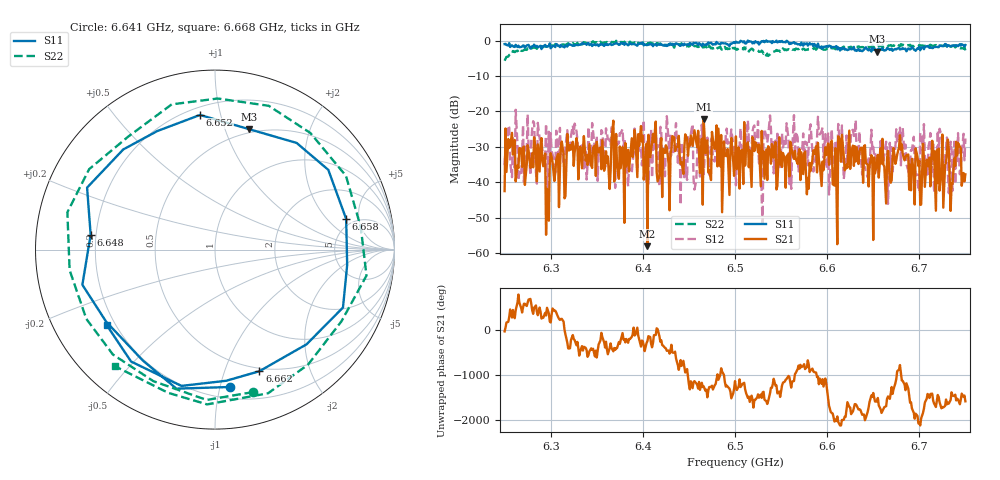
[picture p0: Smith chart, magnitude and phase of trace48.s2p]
# Hz S RI R 50
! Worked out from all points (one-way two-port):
!   401 points, 6.25 GHz to 6.75 GHz, reference 50 ohm
!   highest |S21| = -22.20 dB at 6.466 GHz (marker M1); lowest = -58.0 dB at 6.405 GHz (marker M2)
!   lowest |S11| = -3.1 dB at 6.654 GHz (marker M3), VSWR 5.61, Z = 23.2 + j60.7 ohm
!   |S11| at or under -10 dB: nowhere
!   |S22| runs from -5.7 to -0.1 dB; largest |S21 - S12| = 0.12
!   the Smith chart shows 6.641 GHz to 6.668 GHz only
!   S11 on the Smith chart (normalised r, x): 6.641 GHz: 0.29, -1.08; 6.648 GHz: 0.18, +0.06; 6.652 GHz: 0.25, +0.86; 6.658 GHz: 4.30, +3.36; 6.662 GHz: 0.47, -1.32; 6.668 GHz: 0.17, -0.31
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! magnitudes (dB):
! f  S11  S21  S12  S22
! 6.25 GHz  -1.0  -42.5  -35.2  -5.7
! 6.289 GHz  -1.5  -29.4  -28.2  -1.8
! 6.298 GHz  -1.6  -50.8  -25.7  -1.5
! 6.334 GHz  -0.8  -36.0  -29.6  -1.1
! 6.398 GHz  -0.8  -24.1  -30.1  -0.7
! 6.405 GHz  -1.3  -58.0  -28.4  -1.0
! 6.418 GHz  -1.1  -38.3  -41.2  -1.2
! 6.466 GHz  -1.1  -22.2  -37.8  -1.9
! 6.5 GHz  -0.7  -34.1  -33.0  -2.0
! 6.584 GHz  -1.0  -33.7  -31.3  -2.6
! 6.602 GHz  -1.5  -35.0  -43.4  -2.4
! 6.609 GHz  -1.7  -30.4  -28.2  -2.5
! 6.615 GHz  -2.2  -34.2  -31.0  -2.3
! 6.629 GHz  -1.9  -35.4  -26.9  -1.8
! 6.641 GHz  -2.3  -29.5  -35.7  -1.7
! 6.648 GHz  -3.1  -32.3  -25.2  -1.7
! 6.652 GHz  -2.4  -37.5  -31.8  -1.5
! 6.654 GHz  -3.1  -34.7  -34.4  -1.5
! 6.658 GHz  -2.5  -30.4  -28.3  -1.5
! 6.662 GHz  -2.8  -35.5  -32.4  -1.7
! 6.668 GHz  -2.7  -39.1  -28.8  -1.4
! 6.75 GHz  -1.3  -37.8  -27.6  -2.8
